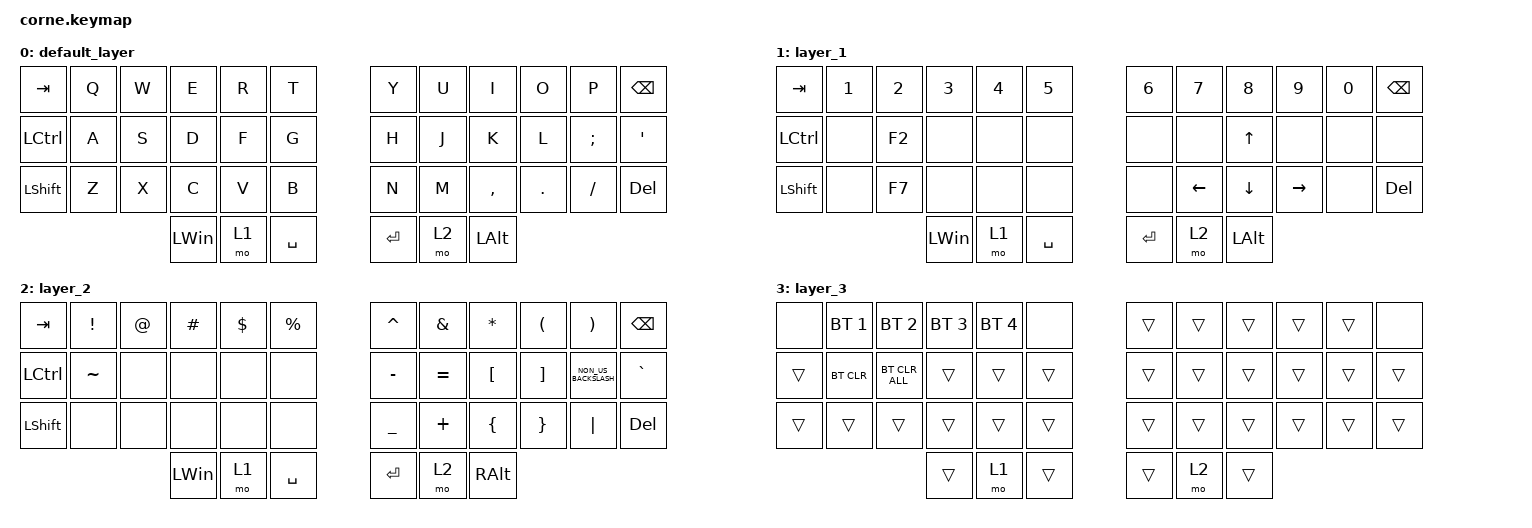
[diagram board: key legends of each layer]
/*
 * Copyright (c) 2020 The ZMK Contributors
 *
 * SPDX-License-Identifier: MIT
 */

#include <behaviors.dtsi>
#include <dt-bindings/zmk/bt.h>
#include <dt-bindings/zmk/keys.h>

/ {
    combos {
        compatible = "zmk,combos";

        combo1 {
            bindings = <&kp ESCAPE>;
            key-positions = <36 37 38>;
        };

        unlock {
            bindings = <&studio_unlock>;
            key-positions = <0 12 24>;
        };
    };

    behaviors {
        tab_esc_ctrl: tab_esc_ctrl {
            compatible = "zmk,behavior-tap-dance";
            label = "TAB_ESC_CTRL";
            #binding-cells = <0>;
            bindings = <&mt LCTRL ESC>, <&kp TAB>;
        };

        gqt: global-quick-tap {
            compatible = "zmk,behavior-hold-tap";
            label = "GLOBAL_QUICK_TAP";
            bindings = <&kp>, <&kp>;

            #binding-cells = <2>;
            tapping-term-ms = <300>;
            quick-tap-ms = <180>;
            global-quick-tap;
            flavor = "tap-preferred";
        };

        ltq: ltq {
            compatible = "zmk,behavior-hold-tap";
            label = "LTQ";
            bindings = <&mo>, <&kp>;

            #binding-cells = <2>;
            tapping-term-ms = <200>;
            quick-tap-ms = <180>;
            global-quick-tap;
        };

        caps_esc_ctrl: caps_esc_ctrl {
            compatible = "zmk,behavior-tap-dance";
            label = "CAPS_ESC_CTRL";
            #binding-cells = <0>;
            bindings = <&mt LCTRL ESC>, <&kt CAPSLOCK>;
        };
    };

    keymap {
        compatible = "zmk,keymap";

        default_layer {
            bindings = <
&kp TAB    &kp Q  &kp W  &kp E         &kp R  &kp T        &kp Y      &kp U  &kp I         &kp O    &kp P          &kp BACKSPACE
&kp LCTRL  &kp A  &kp S  &kp D         &kp F  &kp G        &kp H      &kp J  &kp K         &kp L    &kp SEMICOLON  &kp SQT
&kp LSHFT  &kp Z  &kp X  &kp C         &kp V  &kp B        &kp N      &kp M  &kp COMMA     &kp DOT  &kp FSLH       &kp DEL
                         &kp LEFT_WIN  &mo 1  &kp SPACE    &kp ENTER  &mo 2  &kp LEFT_ALT
            >;
        };

        layer_1 {
            bindings = <
&kp TAB    &kp NUMBER_1  &kp NUMBER_2  &kp NUMBER_3  &kp NUMBER_4  &kp NUMBER_5    &kp NUMBER_6  &kp NUMBER_7  &kp NUMBER_8  &kp NUMBER_9  &kp NUMBER_0  &kp BACKSPACE
&kp LCTRL  &none         &kp F2        &none         &none         &none           &none         &none         &kp UP        &none         &none         &none
&kp LSHFT  &none         &kp F7        &none         &none         &none           &none         &kp LEFT      &kp DOWN      &kp RIGHT     &none         &kp DELETE
                                       &kp LEFT_WIN  &mo 1         &kp SPACE       &kp ENTER     &mo 2         &kp LALT
            >;
        };

        layer_2 {
            bindings = <
&kp TAB    &kp EXCLAMATION  &kp AT_SIGN  &kp HASH      &kp DOLLAR  &kp PERCENT    &kp CARET       &kp AMPERSAND  &kp ASTERISK      &kp LEFT_PARENTHESIS  &kp RIGHT_PARENTHESIS  &kp BACKSPACE
&kp LCTRL  &kp TILDE        &none        &none         &none       &none          &kp MINUS       &kp EQUAL      &kp LEFT_BRACKET  &kp RIGHT_BRACKET     &kp NON_US_BACKSLASH   &kp GRAVE
&kp LSHFT  &none            &none        &none         &none       &none          &kp UNDERSCORE  &kp PLUS       &kp LEFT_BRACE    &kp RIGHT_BRACE       &kp PIPE               &kp DEL
                                         &kp LEFT_WIN  &mo 1       &kp SPACE      &kp ENTER       &mo 2          &kp RIGHT_ALT
            >;
        };

        layer_3 {
            bindings = <
&none   &bt BT_SEL 1  &bt BT_SEL 2    &bt BT_SEL 3  &bt BT_SEL 4  &none     &trans  &trans  &trans  &trans  &trans  &none
&trans  &bt BT_CLR    &bt BT_CLR_ALL  &trans        &trans        &trans    &trans  &trans  &trans  &trans  &trans  &trans
&trans  &trans        &trans          &trans        &trans        &trans    &trans  &trans  &trans  &trans  &trans  &trans
                                      &trans        &mo 1         &trans    &trans  &mo 2   &trans
            >;
        };
    };

    conditional_layers {
        compatible = "zmk,conditional-layers";

        BT {
            if-layers = <1 2>;
            then-layer = <3>;
        };
    };
};
